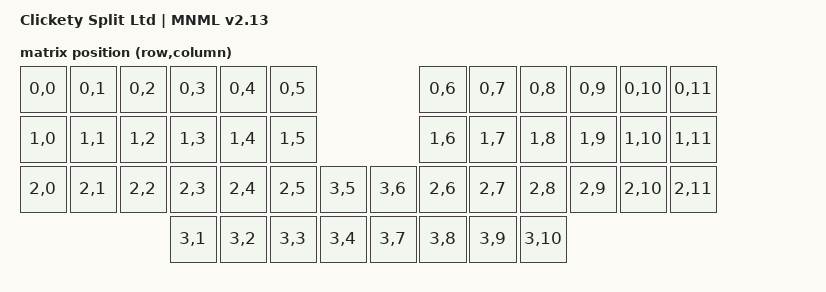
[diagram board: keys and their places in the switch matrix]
/*
 * Copyright (c) 2025 Clickety Split Ltd.
 * SPDX-License-Identifier: MIT
 */

/dts-v1/;
#include <nordic/nrf52840_qiaa.dtsi>
#include <dt-bindings/zmk/matrix_transform.h>

/ {
    model = "Clickety Split Ltd | MNML v2.13";
    compatible = "clickety_split_mnml_3x6";

    chosen {
        zephyr,code-partition = &code_partition;
        zephyr,sram = &sram0;
        zephyr,flash = &flash0;

        zephyr,console = &cdc_acm_uart0;
        zmk,display = &ls0xx;

        /* Use MAX17048 SoC reporting */
        zmk,battery = &max17048;

        /* Fallback: estimate SoC from VDDH (often reads 100% on USB) */
        // zmk,battery = &vbatt;

        zmk,kscan = &kscan0;
        zmk,matrix-transform = &default_transform;
    };

    default_transform: keymap_transform_0 {
        compatible = "zmk,matrix-transform";
        columns = <12>;
        rows = <4>;

             //
             // | SW1  | SW2  | SW3  | SW4  | SW5  | SW6  |                 | SW6  | SW5  | SW4  | SW3  | SW2  | SW1  |
             // | SW7  | SW8  | SW9  | SW10 | SW11 | SW12 |                 | SW12 | SW11 | SW10 | SW9  | SW8  | SW7  |
             // | SW13 | SW14 | SW15 | SW16 | SW17 | SW18 | SW23 |   | SW23 | SW18 | SW17 | SW16 | SW15 | SW14 | SW13 |
             //                      | SW19 | SW20 | SW21 | SW22 |   | SW22 | SW21 | SW20 | SW19 |
        map = <
            RC(0,0) RC(0,1) RC(0,2) RC(0,3) RC(0,4) RC(0,5)                 RC(0,6) RC(0,7) RC(0,8) RC(0,9) RC(0,10) RC(0,11)
            RC(1,0) RC(1,1) RC(1,2) RC(1,3) RC(1,4) RC(1,5)                 RC(1,6) RC(1,7) RC(1,8) RC(1,9) RC(1,10) RC(1,11)
            RC(2,0) RC(2,1) RC(2,2) RC(2,3) RC(2,4) RC(2,5) RC(3,5) RC(3,6) RC(2,6) RC(2,7) RC(2,8) RC(2,9) RC(2,10) RC(2,11)
                                    RC(3,1) RC(3,2) RC(3,3) RC(3,4) RC(3,7) RC(3,8) RC(3,9) RC(3,10)
        >;
    };

    ext_power {
        compatible = "zmk,ext-power-generic";
        control-gpios = <&gpio0 13 GPIO_ACTIVE_HIGH>;
        init-delay-ms = <50>;
    };

    vbatt: vbatt {
        compatible = "zmk,battery-nrf-vddh";
    };

    leds {
        compatible = "gpio-leds";
        blue_led: led_0 {
            gpios = <&gpio0 16 GPIO_ACTIVE_HIGH>;
        };
    };
};


/* I2C bus for MAX17048 Fuel Gauge */
&pinctrl {
    i2c1_default: i2c1_default {
        group1 {
            psels = <
                NRF_PSEL(TWIM_SCL, 0, 29)
                NRF_PSEL(TWIM_SDA, 0, 31)
            >;
        };
    };

    i2c1_sleep: i2c1_sleep {
        group1 {
            psels = <
                NRF_PSEL(TWIM_SCL, 0, 29)
                NRF_PSEL(TWIM_SDA, 0, 31)
            >;
            low-power-enable;
        };
    };
};

&i2c1 {
    status = "okay";

    pinctrl-0 = <&i2c1_default>;
    pinctrl-1 = <&i2c1_sleep>;
    pinctrl-names = "default", "sleep";

    clock-frequency = <I2C_BITRATE_STANDARD>; /* 100 kHz */

    max17048: max17048@36 {
        compatible = "zmk,maxim-max17048";
        reg = <0x36>;
        status = "okay";
    };
};

&adc {
    status = "okay";
};

&gpiote {
    status = "okay";
};

&gpio0 {
    status = "okay";
};

&gpio1 {
    status = "okay";
};

&uart0 {
    status = "disabled";
};

zephyr_udc0: &usbd {
    status = "okay";
};

&usbd {
    status = "okay";
    cdc_acm_uart: cdc_acm_uart {
        compatible = "zephyr,cdc-acm-uart";
    };
};

&zephyr_udc0 {
    cdc_acm_uart0: cdc_acm_uart0 {
        compatible = "zephyr,cdc-acm-uart";
        label = "CDC_ACM_0";
    };
};


&flash0 {
    /*
     * For more information, see:
     * http://docs.zephyrproject.org/latest/devices/dts/flash_partitions.html
     */
    partitions {
        compatible = "fixed-partitions";
        #address-cells = <1>;
        #size-cells = <1>;

        sd_partition: partition@0 {
            reg = <0x00000000 0x00026000>;
        };
        code_partition: partition@26000 {
            reg = <0x00026000 0x000c6000>;
        };

        /*
         * The flash starting at 0x000ec000 and ending at
         * 0x000f3fff is reserved for use by the application.
         */

        /*
         * Storage partition will be used by FCB/LittleFS/NVS
         * if enabled.
         */
        storage_partition: partition@ec000 {
            reg = <0x000ec000 0x00008000>;
        };

        boot_partition: partition@f4000 {
            reg = <0x000f4000 0x0000c000>;
        };
    };
};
